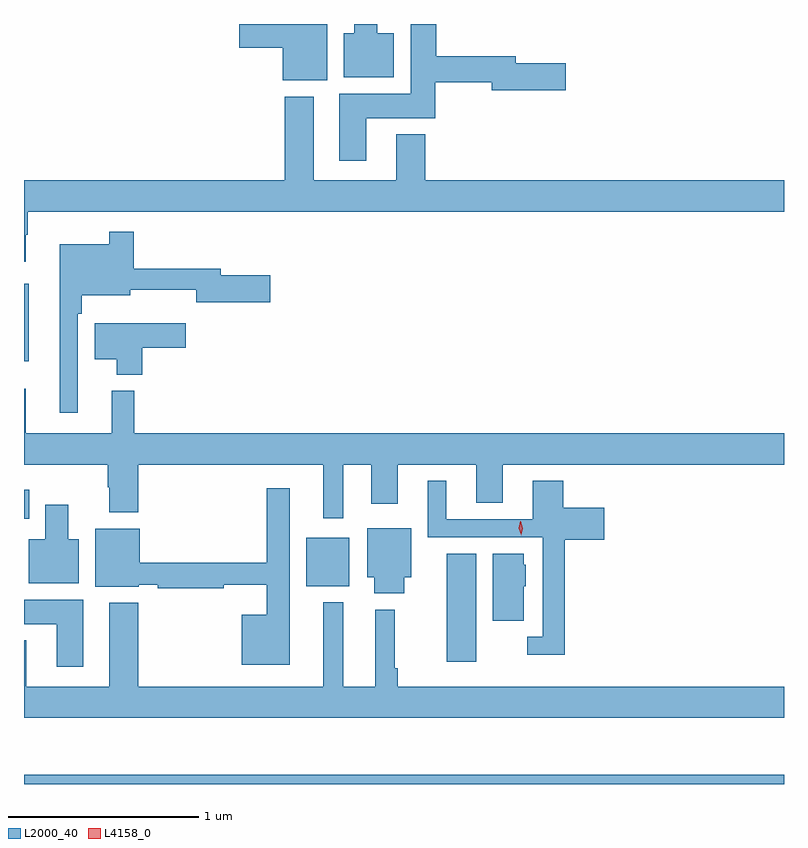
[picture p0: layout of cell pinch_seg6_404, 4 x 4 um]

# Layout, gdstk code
import gdstk
lib = gdstk.Library(unit=1e-6, precision=1e-09)
def R(c, l, rs):  # rectangles x0, y0, x1, y1
    for r in rs: c.add(gdstk.rectangle(r[:2], r[2:], *l))
def P(c, l, *ps):  # polygons
    for p in ps: c.add(gdstk.Polygon(p, *l))
L2000_40 = (2000, 40)
L4158_0 = (4158, 0)

pinch_seg6_404 = lib.new_cell('pinch_seg6_404')
R(pinch_seg6_404, L2000_40, [(649.285,924.343,653.285,924.391), (651.509,924.987,651.664,925.556), (650.771,925.385,650.998,925.639), (649.285,925.739,649.312,925.891), (649.285,926.567,649.309,926.977)])
P(pinch_seg6_404, L2000_40, [(651.232,928.294),(651.145,928.294),(651.145,928.343),(651.023,928.343),(651.023,928.294),(650.969,928.294),(650.969,928.064),(651.232,928.064)],
  [(651.085,927.848),(651.45,927.848),(651.45,928.036),(651.746,928.036),(651.746,927.994),(652.135,927.994),(652.135,928.136),(651.874,928.136),(651.874,928.172),(651.455,928.172),(651.455,928.343),(651.32,928.343),(651.32,927.976),(650.945,927.976),(650.945,927.624),(651.085,927.624)],
  [(650.881,928.343),(650.418,928.343),(650.418,928.217),(650.648,928.217),(650.648,928.046),(650.881,928.046)],
  [(649.294,927.233),(649.306,927.233),(649.306,927.356),(653.285,927.356),(653.285,927.52),(651.398,927.52),(651.398,927.763),(651.245,927.763),(651.245,927.52),(650.809,927.52),(650.809,927.961),(650.657,927.961),(650.657,927.52),(649.285,927.52),(649.285,927.093),(649.294,927.093)],
  [(649.569,926.819),(649.589,926.819),(649.589,926.915),(649.843,926.915),(649.843,926.945),(650.192,926.945),(650.192,926.879),(650.581,926.879),(650.581,927.021),(650.32,927.021),(650.32,927.055),(649.862,927.055),(649.862,927.25),(649.734,927.25),(649.734,927.184),(649.472,927.184),(649.472,926.298),(649.569,926.298)],
  [(649.907,926.638),(650.137,926.638),(650.137,926.767),(649.658,926.767),(649.658,926.579),(649.772,926.579),(649.772,926.498),(649.907,926.498)],
  [(650.965,926.024),(651.113,926.024),(651.113,925.818),(651.253,925.818),(651.253,926.024),(651.665,926.024),(651.665,925.822),(651.805,925.822),(651.805,926.024),(653.285,926.024),(653.285,926.188),(649.865,926.188),(649.865,926.413),(649.748,926.413),(649.748,926.188),(649.295,926.188),(649.295,926.422),(649.285,926.422),(649.285,926.024),(649.726,926.024),(649.726,925.904),(649.733,925.904),(649.733,925.772),(649.886,925.772),(649.886,926.024),(650.861,926.024),(650.861,925.743),(650.965,925.743)],
  [(652.13,925.628),(652.339,925.628),(652.339,925.798),(652.124,925.798),(652.124,925.939),(651.962,925.939),(651.962,925.737),(651.508,925.737),(651.508,925.939),(651.41,925.939),(651.41,925.641),(652.014,925.641),(652.014,925.119),(651.933,925.119),(651.933,925.022),(652.13,925.022)],
  [(650.683,925.9),(650.562,925.9),(650.562,925.508),(649.894,925.508),(649.894,925.687),(649.661,925.687),(649.661,925.382),(649.89,925.382),(649.89,925.392),(649.99,925.392),(649.99,925.372),(650.336,925.372),(650.336,925.391),(650.562,925.391),(650.562,925.234),(650.432,925.234),(650.432,924.971),(650.683,924.971)],
  [(649.573,925.63),(649.519,925.63),(649.519,925.813),(649.397,925.813),(649.397,925.63),(649.31,925.63),(649.31,925.4),(649.573,925.4)],
  [(651.286,925.43),(651.322,925.43),(651.322,925.69),(651.092,925.69),(651.092,925.43),(651.128,925.43),(651.128,925.346),(651.286,925.346)],
  [(651.916,925.383),(651.925,925.383),(651.925,925.497),(651.916,925.497),(651.916,925.556),(651.752,925.556),(651.752,925.203),(651.916,925.203)],
  [(649.597,925.312),(649.285,925.312),(649.285,925.184),(649.457,925.184),(649.457,924.96),(649.597,924.96)],
  [(653.285,924.856),(651.251,924.856),(651.251,924.952),(651.236,924.952),(651.236,925.261),(651.134,925.261),(651.134,924.856),(650.965,924.856),(650.965,925.3),(650.861,925.3),(650.861,924.856),(649.886,924.856),(649.886,925.297),(649.733,925.297),(649.733,924.856),(649.297,924.856),(649.297,925.099),(649.285,925.099),(649.285,924.692),(653.285,924.692)])
P(pinch_seg6_404, L4158_0, [(651.902,925.653),(651.901,925.654),(651.89,925.689),(651.898,925.725),(651.898,925.725),(651.899,925.725),(651.91,925.69),(651.902,925.654)])

lib.write_gds('pinch_seg6_404.gds')
